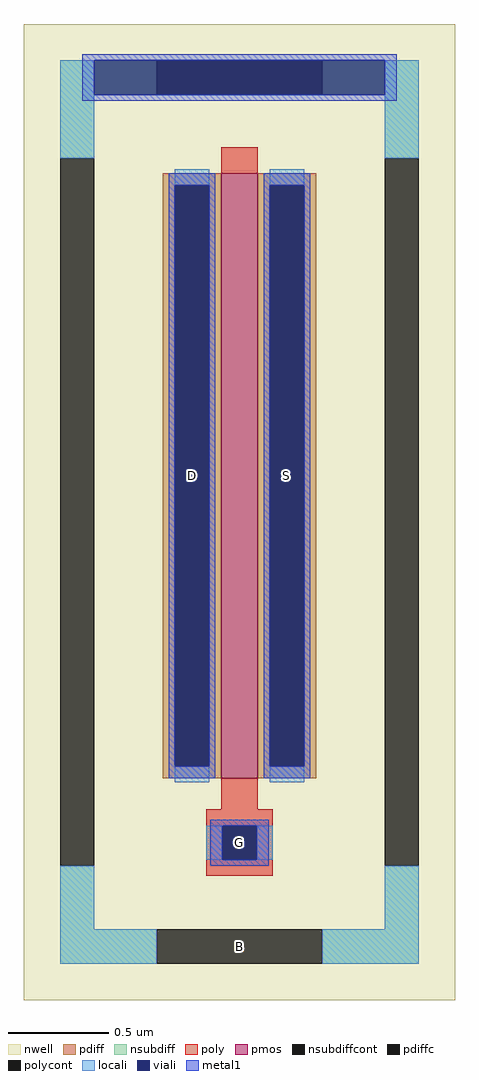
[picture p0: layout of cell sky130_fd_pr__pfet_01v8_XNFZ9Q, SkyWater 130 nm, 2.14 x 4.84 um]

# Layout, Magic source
magic
tech sky130A
magscale 1 2
<< nwell >>
rect -214 -484 214 484
<< pmos >>
rect -18 -264 18 336
<< pdiff >>
rect -76 324 -18 336
rect -76 -252 -64 324
rect -30 -252 -18 324
rect -76 -264 -18 -252
rect 18 324 76 336
rect 18 -252 30 324
rect 64 -252 76 324
rect 18 -264 76 -252
<< pdiffc >>
rect -64 -252 -30 324
rect 30 -252 64 324
<< nsubdiff >>
rect -178 414 -82 448
rect 82 414 178 448
rect -178 351 -144 414
rect 144 351 178 414
rect -178 -414 -144 -351
rect 144 -414 178 -351
rect -178 -448 -82 -414
rect 82 -448 178 -414
<< nsubdiffcont >>
rect -82 414 82 448
rect -178 -351 -144 351
rect 144 -351 178 351
rect -82 -448 82 -414
<< poly >>
rect -18 336 18 362
rect -18 -295 18 -264
rect -33 -311 33 -295
rect -33 -345 -17 -311
rect 17 -345 33 -311
rect -33 -361 33 -345
<< polycont >>
rect -17 -345 17 -311
<< locali >>
rect -178 351 -144 448
rect 144 351 178 448
rect -64 324 -30 340
rect -64 -268 -30 -252
rect 30 324 64 340
rect 30 -268 64 -252
rect -33 -345 -17 -311
rect 17 -345 33 -311
rect -178 -414 -144 -351
rect 144 -414 178 -351
rect -178 -448 -82 -414
rect 82 -448 178 -414
<< viali >>
rect -144 414 -82 448
rect -82 414 82 448
rect 82 414 144 448
rect -64 -252 -30 324
rect 30 -252 64 324
rect -17 -345 17 -311
<< metal1 >>
rect -156 448 156 454
rect -156 414 -144 448
rect 144 414 156 448
rect -156 408 156 414
rect -70 324 -24 336
rect -70 -252 -64 324
rect -30 -252 -24 324
rect -70 -264 -24 -252
rect 24 324 70 336
rect 24 -252 30 324
rect 64 -252 70 324
rect 24 -264 70 -252
rect -29 -311 29 -305
rect -29 -345 -17 -311
rect 17 -345 29 -311
rect -29 -351 29 -345
<< labels >>
rlabel nsubdiffcont 0 -431 0 -431 0 B
port 13 nsew
rlabel pdiffc -47 36 -47 36 0 D
port 14 nsew
rlabel pdiffc 47 36 47 36 0 S
port 15 nsew
rlabel polycont 0 -328 0 -328 0 G
port 16 nsew
<< properties >>
string FIXED_BBOX -161 -431 161 431
string gencell sky130_fd_pr__pfet_01v8
string library sky130
string parameters w 3 l 0.18 m 1 nf 1 diffcov 100 polycov 100 guard 1 glc 1 grc 1 gtc 1 gbc 1 tbcov 100 rlcov 100 topc 0 botc 1 poverlap 0 doverlap 1 lmin 0.15 wmin 0.42 class mosfet compatible {sky130_fd_pr__pfet_01v8  sky130_fd_pr__pfet_01v8_lvt sky130_fd_pr__pfet_01v8_hvt  sky130_fd_pr__pfet_g5v0d10v5} full_metal 1 conn_gates 0 viasrc 100 viadrn 100 viagate 100 viagb 0 viagr 0 viagl 0 viagt 100 doports 1
<< end >>
